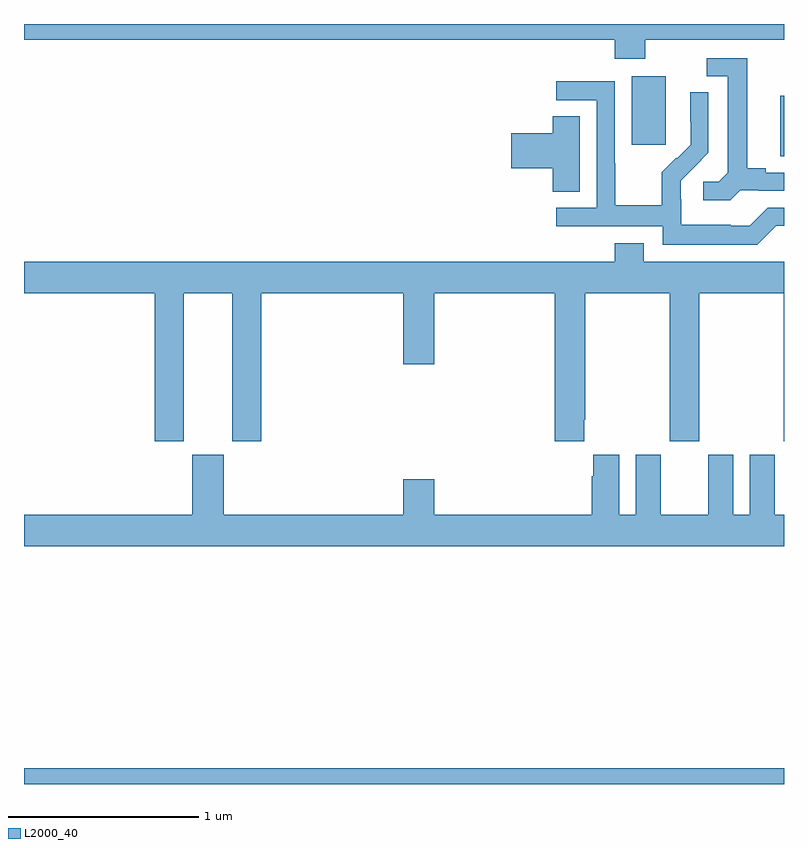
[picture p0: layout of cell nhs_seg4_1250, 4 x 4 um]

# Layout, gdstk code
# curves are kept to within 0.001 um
import gdstk
lib = gdstk.Library(unit=1e-6, precision=1e-09)
def R(c, l, rs):  # rectangles x0, y0, x1, y1
    for r in rs: c.add(gdstk.rectangle(r[:2], r[2:], *l))
def P(c, l, *ps):  # polygons
    for p in ps: c.add(gdstk.Polygon(p, *l))
L2000_40 = (2000, 40)

nhs_seg4_1250 = lib.new_cell('nhs_seg4_1250')
R(nhs_seg4_1250, L2000_40, [(175,796.9,179,796.984), (178.979,800.203,179,800.523), (178.199,800.265,178.378,800.626)])
P(nhs_seg4_1250, L2000_40, [(178.269,800.816),(179,800.816),(179,800.9),(175,800.9),(175,800.816),(178.109,800.816),(178.109,800.717),(178.269,800.717)],
  [(178.77,800.025),(178.864,800.025),(178.864,800.022),(179,800.022),(179,800.118),(178.903,800.118),(178.903,800.141),(178.807,800.141),(178.807,800.721),(178.593,800.721),(178.593,800.625),(178.703,800.625),(178.703,800.117),(178.656,800.07),(178.575,800.07),(178.575,799.973),(178.718,799.973)],
  [(178.959,799.839),(179,799.839),(179,799.932),(178.914,799.932),(178.821,799.839),(178.721,799.839),(178.721,799.843),(178.458,799.843),(178.458,799.977),(178.456,799.977),(178.456,800.074),(178.602,800.222),(178.602,800.54),(178.506,800.54),(178.506,800.386),(178.508,800.386),(178.508,800.264),(178.437,800.193),(178.434,800.196),(178.357,800.119),(178.357,799.945),(178.113,799.945),(178.113,800.168),(178.11,800.168),(178.11,800.598),(177.801,800.598),(177.801,800.499),(178.014,800.499),(178.014,799.932),(177.801,799.932),(177.801,799.836),(178.362,799.836),(178.362,799.739),(178.859,799.739)],
  [(177.925,800.414),(177.782,800.414),(177.782,800.324),(177.564,800.324),(177.564,800.141),(177.782,800.141),(177.782,800.017),(177.925,800.017)],
  [(175.84,799.484),(176.096,799.484),(176.096,798.705),(176.249,798.705),(176.249,799.484),(176.996,799.484),(176.996,799.11),(177.16,799.11),(177.16,799.484),(177.794,799.484),(177.794,798.705),(177.949,798.705),(177.949,798.817),(177.954,798.817),(177.954,799.484),(178.399,799.484),(178.399,798.705),(178.554,798.705),(178.554,799.484),(178.999,799.484),(178.999,798.705),(179,798.705),(179,799.648),(178.261,799.648),(178.261,799.747),(178.109,799.747),(178.109,799.648),(175,799.648),(175,799.484),(175.688,799.484),(175.688,798.705),(175.84,798.705)],
  [(179,798.316),(178.951,798.316),(178.951,798.634),(178.82,798.634),(178.82,798.316),(178.732,798.316),(178.732,798.634),(178.601,798.634),(178.601,798.316),(178.351,798.316),(178.351,798.634),(178.22,798.634),(178.22,798.316),(178.132,798.316),(178.132,798.634),(177.995,798.634),(177.995,798.521),(177.989,798.521),(177.989,798.316),(177.16,798.316),(177.16,798.505),(176.996,798.505),(176.996,798.316),(176.05,798.316),(176.05,798.633),(175.886,798.633),(175.886,798.316),(175,798.316),(175,798.152),(179,798.152)])

lib.write_gds('nhs_seg4_1250.gds')
